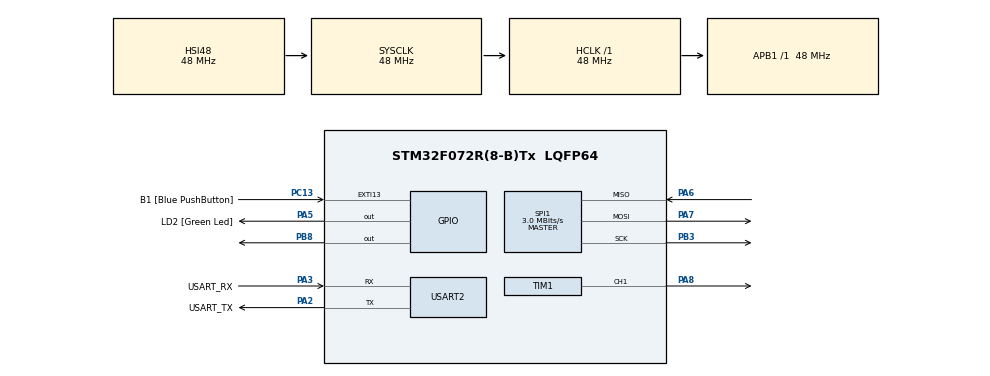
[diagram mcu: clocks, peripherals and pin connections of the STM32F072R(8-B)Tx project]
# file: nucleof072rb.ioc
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Mcu.Family=STM32F0
Mcu.Name=STM32F072R(8-B)Tx
Mcu.Package=LQFP64
PA13.GPIO_Label=TMS
PA13.Mode=Serial_Wire
PA13.Signal=SYS_SWDIO
PA14.GPIO_Label=TCK
PA14.Mode=Serial_Wire
PA14.Signal=SYS_SWCLK
PA2.GPIO_Label=USART_TX
PA2.GPIO_Mode=GPIO_MODE_AF_PP
PA2.GPIO_PuPd=GPIO_NOPULL
PA2.GPIO_Speed=GPIO_SPEED_FREQ_LOW
PA2.Mode=Asynchronous
PA2.Signal=USART2_TX
PA3.GPIO_Label=USART_RX
PA3.GPIO_Mode=GPIO_MODE_AF_PP
PA3.GPIO_PuPd=GPIO_NOPULL
PA3.GPIO_Speed=GPIO_SPEED_FREQ_LOW
PA3.Mode=Asynchronous
PA3.Signal=USART2_RX
PA5.GPIO_Label=LD2 [Green Led]
PA5.GPIO_Mode=GPIO_MODE_OUTPUT_PP
PA5.GPIO_PuPd=GPIO_NOPULL
PA5.GPIO_Speed=GPIO_SPEED_FREQ_LOW
PA5.Signal=GPIO_Output
PA6.Mode=Full_Duplex_Master
PA6.Signal=SPI1_MISO
PA7.Mode=Full_Duplex_Master
PA7.Signal=SPI1_MOSI
PA8.Signal=S_TIM1_CH1
PB3.Mode=Full_Duplex_Master
PB3.Signal=SPI1_SCK
PB8.Signal=GPIO_Output
PC13.GPIO_Label=B1 [Blue PushButton]
PC13.GPIO_ModeDefaultEXTI=GPIO_MODE_IT_FALLING
PC13.Signal=GPXTI13
PC14-OSC32_IN.Mode=LSE-External-Oscillator
PC14-OSC32_IN.Signal=RCC_OSC32_IN
PC15-OSC32_OUT.Mode=LSE-External-Oscillator
PC15-OSC32_OUT.Signal=RCC_OSC32_OUT
PF0-OSC_IN.Mode=HSE-External-Clock-Source
PF0-OSC_IN.Signal=RCC_OSC_IN
PF1-OSC_OUT.Signal=RCC_OSC_OUT
ProjectManager.HeapSize=0x200
ProjectManager.StackSize=0x400
ProjectManager.TargetToolchain=STM32CubeIDE
RCC.AHBFreq_Value=48000000
RCC.APB1Freq_Value=48000000
RCC.APB1TimFreq_Value=48000000
RCC.FLatency-AdvancedSettings=FLASH_LATENCY_1
RCC.HCLKFreq_Value=48000000
RCC.PLLDivider=RCC_PREDIV_DIV2
RCC.PLLMUL=RCC_PLL_MUL12
RCC.PREFETCH_ENABLE-AdvancedSettings=1
RCC.SYSCLKFreq_VALUE=48000000
RCC.SYSCLKSource=RCC_SYSCLKSOURCE_HSI48
SH.S_TIM1_CH1.0=TIM1_CH1,PWM Generation1 CH1
SPI1.BaudRatePrescaler=SPI_BAUDRATEPRESCALER_16
SPI1.CalculateBaudRate=3.0 MBits/s
SPI1.DataSize=SPI_DATASIZE_8BIT
SPI1.Direction=SPI_DIRECTION_2LINES
SPI1.FirstBit=SPI_FIRSTBIT_MSB
SPI1.Mode=SPI_MODE_MASTER
SPI1.VirtualType=VM_MASTER
TIM1.Channel-PWM\ Generation1\ CH1=TIM_CHANNEL_1
TIM1.Period=64000
TIM1.Prescaler=14
USART2.VirtualMode=VM_ASYNC
USART2.VirtualMode-Asynchronous=VM_ASYNC
VP_TIM1_VS_ClockSourceINT.Mode=Internal
board=NUCLEO-F072RB

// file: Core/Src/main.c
/* USER CODE BEGIN Header */
/**
  ******************************************************************************
  * @file           : main.c
  * @brief          : Main program body
  ******************************************************************************
  * @attention
  *
  * <h2><center>&copy; Copyright (c) 2021 STMicroelectronics.
  * All rights reserved.</center></h2>
  *
  * This software component is licensed by ST under BSD 3-Clause license,
  * the "License"; You may not use this file except in compliance with the
  * License. You may obtain a copy of the License at:
  *                        opensource.org/licenses/BSD-3-Clause
  *
  ******************************************************************************
  */
/* USER CODE END Header */
#include "main.h"
#include "spi.h"
#include "tim.h"
#include "usart.h"
#include "gpio.h"

void SystemClock_Config(void);

int main(void)
{

  /* MCU Configuration--------------------------------------------------------*/

  /* Reset of all peripherals, Initializes the Flash interface and the Systick. */
  HAL_Init();

  /* Configure the system clock */
  SystemClock_Config();

  /* Initialize all configured peripherals */
  MX_GPIO_Init();
  MX_USART2_UART_Init();
  MX_SPI1_Init();
  MX_TIM1_Init();
  /* USER CODE BEGIN 2 */
  uint8_t tx_buffer[3] = {0x01,0x80,0x0}; // start byte, channel 0 on single end, dummy byte - transfer to ADC
  uint8_t rx_buffer[3] = {0,0,0}; //for receiving data from ADC
  uint16_t timer_period = 64000;
  uint16_t ON_time = timer_period*0.05; //5% duty cycle -> minimum
  uint16_t adc_max = 1023; //maximum value for ADC

  HAL_TIM_PWM_Start(&htim1, TIM_CHANNEL_1); //start PWM wave
  __HAL_TIM_SET_COMPARE(&htim1, TIM_CHANNEL_1, ON_time); //sets duty cycle for PWM
  HAL_GPIO_WritePin(GPIOB, GPIO_PIN_8, GPIO_PIN_SET); //in case cs starts low, as it must go from high to low for SPI

  /* USER CODE END 2 */

  /* Infinite loop */
  while (1)
  {

    /* USER CODE BEGIN 3 */
	  //COMMUNICATION BETWEEN ADC, MCU
	  HAL_GPIO_WritePin(GPIOB, GPIO_PIN_8, GPIO_PIN_RESET); //set CS (chip select) to low to begin communication
	  HAL_SPI_TransmitReceive(&hspi1, tx_buffer, rx_buffer, 3, HAL_MAX_DELAY); //SPI handle (SPI1), transfer buffer, receive buffer, #bytes, delay to timeout
	  HAL_GPIO_WritePin(GPIOB, GPIO_PIN_8, GPIO_PIN_SET); //set CS back to high to end comms
	  uint16_t adc_value = ((rx_buffer[1] & 0x03) << 8) | (rx_buffer[2]);
	  ON_time = 3200 + (3200*adc_value)/adc_max; // minimum on time of 3200 (5%), scaling to maximum of 6400 (10%)
	  __HAL_TIM_SET_COMPARE(&htim1, TIM_CHANNEL_1, ON_time); //sets duty cycle for PWM

	  HAL_Delay(10);

  }
  /* USER CODE END 3 */
}

void SystemClock_Config(void)
{
  RCC_OscInitTypeDef RCC_OscInitStruct = {0};
  RCC_ClkInitTypeDef RCC_ClkInitStruct = {0};
  RCC_PeriphCLKInitTypeDef PeriphClkInit = {0};

  /** Initializes the RCC Oscillators according to the specified parameters
  * in the RCC_OscInitTypeDef structure.
  */
  RCC_OscInitStruct.OscillatorType = RCC_OSCILLATORTYPE_HSI48;
  RCC_OscInitStruct.HSI48State = RCC_HSI48_ON;
  RCC_OscInitStruct.PLL.PLLState = RCC_PLL_NONE;
  if (HAL_RCC_OscConfig(&RCC_OscInitStruct) != HAL_OK)
  {
    Error_Handler();
  }

  /** Initializes the CPU, AHB and APB buses clocks
  */
  RCC_ClkInitStruct.ClockType = RCC_CLOCKTYPE_HCLK|RCC_CLOCKTYPE_SYSCLK
                              |RCC_CLOCKTYPE_PCLK1;
  RCC_ClkInitStruct.SYSCLKSource = RCC_SYSCLKSOURCE_HSI48;
  RCC_ClkInitStruct.AHBCLKDivider = RCC_SYSCLK_DIV1;
  RCC_ClkInitStruct.APB1CLKDivider = RCC_HCLK_DIV1;

  if (HAL_RCC_ClockConfig(&RCC_ClkInitStruct, FLASH_LATENCY_1) != HAL_OK)
  {
    Error_Handler();
  }
  PeriphClkInit.PeriphClockSelection = RCC_PERIPHCLK_USART2;
  PeriphClkInit.Usart2ClockSelection = RCC_USART2CLKSOURCE_PCLK1;
  if (HAL_RCCEx_PeriphCLKConfig(&PeriphClkInit) != HAL_OK)
  {
    Error_Handler();
  }
}

void Error_Handler(void)
{
  __disable_irq();
  while (1)
  {
  }
}
